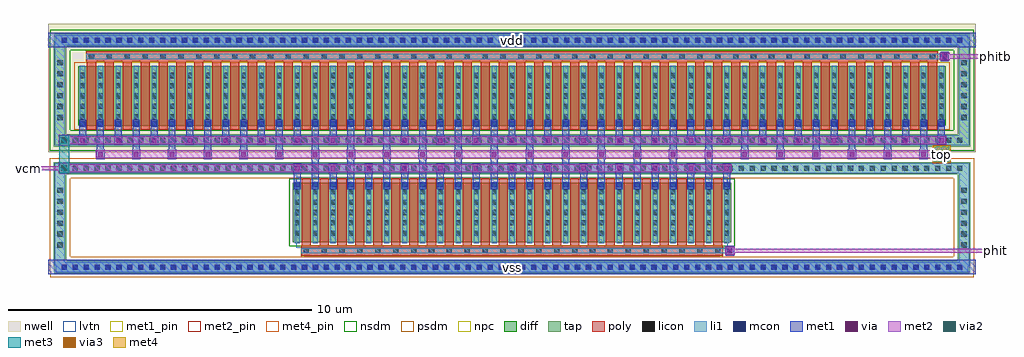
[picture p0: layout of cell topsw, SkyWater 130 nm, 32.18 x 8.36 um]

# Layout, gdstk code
import gdstk
lib = gdstk.Library(unit=1e-6, precision=1e-09)
def R(c, l, rs):  # rectangles x0, y0, x1, y1
    for r in rs: c.add(gdstk.rectangle(r[:2], r[2:], *l))
def A(c, l, x, y, w, h, nx, ny, dx, dy):  # array of equal rectangles
    R(c, l, [(x+i*dx, y+j*dy, x+i*dx+w, y+j*dy+h) for i in range(nx) for j in range(ny)])
nwell = (64, 20)
diff = (65, 20)
tap = (65, 44)
poly = (66, 20)
licon = (66, 44)
li1 = (67, 20)
mcon = (67, 44)
met1_pin = (68, 16)
met1 = (68, 20)
via = (68, 44)
met2_pin = (69, 16)
met2 = (69, 20)
via2 = (69, 44)
met3 = (70, 20)
via3 = (70, 44)
met4_pin = (71, 16)
met4 = (71, 20)
nsdm = (93, 44)
psdm = (94, 20)
npc = (95, 20)
lvtn = (125, 44)

topsw = lib.new_cell('topsw')
R(topsw, nwell, [(-15.29,4.035,15.29,8.265)])
A(topsw, diff, -7.225, 1.055, 0.88, 1.97, 24, 1, 0.59, 0)
A(topsw, diff, -14.305, 4.895, 0.88, 1.97, 48, 1, 0.59, 0)
R(topsw, tap, [(-15.09,0.035,15.09,0.445), (-15.11,0.24,-14.7,3.5), (14.7,0.24,15.11,3.5), (-15.11,3.295,15.11,3.705), (-15.11,4.215,15.11,4.625), (-15.11,4.42,-14.7,7.725), (14.7,4.42,15.11,7.725), (-15.09,7.52,15.09,7.93)])
A(topsw, poly, -6.95, 0.615, 0.33, 0.33, 24, 1, 0.59, 0)
A(topsw, poly, -6.63, 0.615, 0.28, 0.33, 23, 1, 0.59, 0)
A(topsw, poly, -6.935, 0.945, 0.3, 2.21, 24, 1, 0.59, 0)
A(topsw, poly, -14.015, 4.765, 0.3, 2.255, 48, 1, 0.59, 0)
A(topsw, poly, -14.03, 7.02, 0.33, 0.33, 48, 1, 0.59, 0)
A(topsw, poly, -13.71, 7.02, 0.28, 0.33, 47, 1, 0.59, 0)
A(topsw, licon, -14.845, 0.155, 0.17, 0.17, 83, 2, 0.36, 3.26)
A(topsw, licon, -6.87, 0.695, 0.17, 0.17, 24, 1, 0.59, 0)
A(topsw, licon, -14.99, 0.885, 0.17, 0.17, 1, 6, 0, 0.36)
A(topsw, licon, 14.82, 0.885, 0.17, 0.17, 1, 6, 0, 0.36)
A(topsw, licon, -7.165, 1.275, 0.17, 0.17, 1, 5, 0, 0.34)
A(topsw, licon, 6.995, 1.275, 0.17, 0.17, 1, 5, 0, 0.34)
A(topsw, licon, -14.845, 4.335, 0.17, 0.17, 83, 2, 0.36, 3.305)
A(topsw, licon, -14.99, 5.09, 0.17, 0.17, 1, 6, 0, 0.36)
A(topsw, licon, 14.82, 5.09, 0.17, 0.17, 1, 6, 0, 0.36)
A(topsw, licon, -14.245, 5.115, 0.17, 0.17, 1, 5, 0, 0.34)
A(topsw, licon, 14.075, 5.115, 0.17, 0.17, 1, 5, 0, 0.34)
A(topsw, licon, -13.95, 7.1, 0.17, 0.17, 48, 1, 0.59, 0)
R(topsw, licon, [(-6.575,1.275,-6.405,1.445), (-6.575,1.275,-6.405,1.445), (-5.985,1.275,-5.815,1.445), (-5.985,1.275,-5.815,1.445), (-5.395,1.275,-5.225,1.445), (-5.395,1.275,-5.225,1.445), (-4.805,1.275,-4.635,1.445), (-4.805,1.275,-4.635,1.445), (-4.215,1.275,-4.045,1.445), (-4.215,1.275,-4.045,1.445), (-3.625,1.275,-3.455,1.445), (-3.625,1.275,-3.455,1.445), (-3.035,1.275,-2.865,1.445), (-3.035,1.275,-2.865,1.445), (-2.445,1.275,-2.275,1.445), (-2.445,1.275,-2.275,1.445), (-1.855,1.275,-1.685,1.445), (-1.855,1.275,-1.685,1.445), (-1.265,1.275,-1.095,1.445), (-1.265,1.275,-1.095,1.445), (-0.675,1.275,-0.505,1.445), (-0.675,1.275,-0.505,1.445), (-0.085,1.275,0.085,1.445), (-0.085,1.275,0.085,1.445), (0.505,1.275,0.675,1.445), (0.505,1.275,0.675,1.445), (1.095,1.275,1.265,1.445), (1.095,1.275,1.265,1.445), (1.685,1.275,1.855,1.445), (1.685,1.275,1.855,1.445), (2.275,1.275,2.445,1.445), (2.275,1.275,2.445,1.445), (2.865,1.275,3.035,1.445), (2.865,1.275,3.035,1.445), (3.455,1.275,3.625,1.445), (3.455,1.275,3.625,1.445), (4.045,1.275,4.215,1.445), (4.045,1.275,4.215,1.445), (4.635,1.275,4.805,1.445), (4.635,1.275,4.805,1.445), (5.225,1.275,5.395,1.445), (5.225,1.275,5.395,1.445), (5.815,1.275,5.985,1.445), (5.815,1.275,5.985,1.445), (6.405,1.275,6.575,1.445), (6.405,1.275,6.575,1.445), (-6.575,1.615,-6.405,1.785), (-6.575,1.615,-6.405,1.785), (-5.985,1.615,-5.815,1.785), (-5.985,1.615,-5.815,1.785), (-5.395,1.615,-5.225,1.785), (-5.395,1.615,-5.225,1.785), (-4.805,1.615,-4.635,1.785), (-4.805,1.615,-4.635,1.785), (-4.215,1.615,-4.045,1.785), (-4.215,1.615,-4.045,1.785), (-3.625,1.615,-3.455,1.785), (-3.625,1.615,-3.455,1.785), (-3.035,1.615,-2.865,1.785), (-3.035,1.615,-2.865,1.785), (-2.445,1.615,-2.275,1.785), (-2.445,1.615,-2.275,1.785), (-1.855,1.615,-1.685,1.785), (-1.855,1.615,-1.685,1.785), (-1.265,1.615,-1.095,1.785), (-1.265,1.615,-1.095,1.785), (-0.675,1.615,-0.505,1.785), (-0.675,1.615,-0.505,1.785), (-0.085,1.615,0.085,1.785), (-0.085,1.615,0.085,1.785), (0.505,1.615,0.675,1.785), (0.505,1.615,0.675,1.785), (1.095,1.615,1.265,1.785), (1.095,1.615,1.265,1.785), (1.685,1.615,1.855,1.785), (1.685,1.615,1.855,1.785), (2.275,1.615,2.445,1.785), (2.275,1.615,2.445,1.785), (2.865,1.615,3.035,1.785), (2.865,1.615,3.035,1.785), (3.455,1.615,3.625,1.785), (3.455,1.615,3.625,1.785), (4.045,1.615,4.215,1.785), (4.045,1.615,4.215,1.785), (4.635,1.615,4.805,1.785), (4.635,1.615,4.805,1.785), (5.225,1.615,5.395,1.785), (5.225,1.615,5.395,1.785), (5.815,1.615,5.985,1.785), (5.815,1.615,5.985,1.785), (6.405,1.615,6.575,1.785), (6.405,1.615,6.575,1.785), (-6.575,1.955,-6.405,2.125), (-6.575,1.955,-6.405,2.125), (-5.985,1.955,-5.815,2.125), (-5.985,1.955,-5.815,2.125), (-5.395,1.955,-5.225,2.125), (-5.395,1.955,-5.225,2.125), (-4.805,1.955,-4.635,2.125), (-4.805,1.955,-4.635,2.125), (-4.215,1.955,-4.045,2.125), (-4.215,1.955,-4.045,2.125), (-3.625,1.955,-3.455,2.125), (-3.625,1.955,-3.455,2.125), (-3.035,1.955,-2.865,2.125), (-3.035,1.955,-2.865,2.125), (-2.445,1.955,-2.275,2.125), (-2.445,1.955,-2.275,2.125), (-1.855,1.955,-1.685,2.125), (-1.855,1.955,-1.685,2.125), (-1.265,1.955,-1.095,2.125), (-1.265,1.955,-1.095,2.125), (-0.675,1.955,-0.505,2.125), (-0.675,1.955,-0.505,2.125), (-0.085,1.955,0.085,2.125), (-0.085,1.955,0.085,2.125), (0.505,1.955,0.675,2.125), (0.505,1.955,0.675,2.125), (1.095,1.955,1.265,2.125), (1.095,1.955,1.265,2.125), (1.685,1.955,1.855,2.125), (1.685,1.955,1.855,2.125), (2.275,1.955,2.445,2.125), (2.275,1.955,2.445,2.125), (2.865,1.955,3.035,2.125), (2.865,1.955,3.035,2.125), (3.455,1.955,3.625,2.125), (3.455,1.955,3.625,2.125), (4.045,1.955,4.215,2.125), (4.045,1.955,4.215,2.125), (4.635,1.955,4.805,2.125), (4.635,1.955,4.805,2.125), (5.225,1.955,5.395,2.125), (5.225,1.955,5.395,2.125), (5.815,1.955,5.985,2.125), (5.815,1.955,5.985,2.125), (6.405,1.955,6.575,2.125), (6.405,1.955,6.575,2.125), (-6.575,2.295,-6.405,2.465), (-6.575,2.295,-6.405,2.465), (-5.985,2.295,-5.815,2.465), (-5.985,2.295,-5.815,2.465), (-5.395,2.295,-5.225,2.465), (-5.395,2.295,-5.225,2.465), (-4.805,2.295,-4.635,2.465), (-4.805,2.295,-4.635,2.465), (-4.215,2.295,-4.045,2.465), (-4.215,2.295,-4.045,2.465), (-3.625,2.295,-3.455,2.465), (-3.625,2.295,-3.455,2.465), (-3.035,2.295,-2.865,2.465), (-3.035,2.295,-2.865,2.465), (-2.445,2.295,-2.275,2.465), (-2.445,2.295,-2.275,2.465), (-1.855,2.295,-1.685,2.465), (-1.855,2.295,-1.685,2.465), (-1.265,2.295,-1.095,2.465), (-1.265,2.295,-1.095,2.465), (-0.675,2.295,-0.505,2.465), (-0.675,2.295,-0.505,2.465), (-0.085,2.295,0.085,2.465), (-0.085,2.295,0.085,2.465), (0.505,2.295,0.675,2.465), (0.505,2.295,0.675,2.465), (1.095,2.295,1.265,2.465), (1.095,2.295,1.265,2.465), (1.685,2.295,1.855,2.465), (1.685,2.295,1.855,2.465), (2.275,2.295,2.445,2.465), (2.275,2.295,2.445,2.465), (2.865,2.295,3.035,2.465), (2.865,2.295,3.035,2.465), (3.455,2.295,3.625,2.465), (3.455,2.295,3.625,2.465), (4.045,2.295,4.215,2.465), (4.045,2.295,4.215,2.465), (4.635,2.295,4.805,2.465), (4.635,2.295,4.805,2.465), (5.225,2.295,5.395,2.465), (5.225,2.295,5.395,2.465), (5.815,2.295,5.985,2.465), (5.815,2.295,5.985,2.465), (6.405,2.295,6.575,2.465), (6.405,2.295,6.575,2.465), (-6.575,2.635,-6.405,2.805), (-6.575,2.635,-6.405,2.805), (-5.985,2.635,-5.815,2.805), (-5.985,2.635,-5.815,2.805), (-5.395,2.635,-5.225,2.805), (-5.395,2.635,-5.225,2.805), (-4.805,2.635,-4.635,2.805), (-4.805,2.635,-4.635,2.805), (-4.215,2.635,-4.045,2.805), (-4.215,2.635,-4.045,2.805), (-3.625,2.635,-3.455,2.805), (-3.625,2.635,-3.455,2.805), (-3.035,2.635,-2.865,2.805), (-3.035,2.635,-2.865,2.805), (-2.445,2.635,-2.275,2.805), (-2.445,2.635,-2.275,2.805), (-1.855,2.635,-1.685,2.805), (-1.855,2.635,-1.685,2.805), (-1.265,2.635,-1.095,2.805), (-1.265,2.635,-1.095,2.805), (-0.675,2.635,-0.505,2.805), (-0.675,2.635,-0.505,2.805), (-0.085,2.635,0.085,2.805), (-0.085,2.635,0.085,2.805), (0.505,2.635,0.675,2.805), (0.505,2.635,0.675,2.805), (1.095,2.635,1.265,2.805), (1.095,2.635,1.265,2.805), (1.685,2.635,1.855,2.805), (1.685,2.635,1.855,2.805), (2.275,2.635,2.445,2.805), (2.275,2.635,2.445,2.805), (2.865,2.635,3.035,2.805), (2.865,2.635,3.035,2.805), (3.455,2.635,3.625,2.805), (3.455,2.635,3.625,2.805), (4.045,2.635,4.215,2.805), (4.045,2.635,4.215,2.805), (4.635,2.635,4.805,2.805), (4.635,2.635,4.805,2.805), (5.225,2.635,5.395,2.805), (5.225,2.635,5.395,2.805), (5.815,2.635,5.985,2.805), (5.815,2.635,5.985,2.805), (6.405,2.635,6.575,2.805), (6.405,2.635,6.575,2.805), (-13.655,5.115,-13.485,5.285), (-13.655,5.115,-13.485,5.285), (-13.065,5.115,-12.895,5.285), (-13.065,5.115,-12.895,5.285), (-12.475,5.115,-12.305,5.285), (-12.475,5.115,-12.305,5.285), (-11.885,5.115,-11.715,5.285), (-11.885,5.115,-11.715,5.285), (-11.295,5.115,-11.125,5.285), (-11.295,5.115,-11.125,5.285), (-10.705,5.115,-10.535,5.285), (-10.705,5.115,-10.535,5.285), (-10.115,5.115,-9.945,5.285), (-10.115,5.115,-9.945,5.285), (-9.525,5.115,-9.355,5.285), (-9.525,5.115,-9.355,5.285), (-8.935,5.115,-8.765,5.285), (-8.935,5.115,-8.765,5.285), (-8.345,5.115,-8.175,5.285), (-8.345,5.115,-8.175,5.285), (-7.755,5.115,-7.585,5.285), (-7.755,5.115,-7.585,5.285), (-7.165,5.115,-6.995,5.285), (-7.165,5.115,-6.995,5.285), (-6.575,5.115,-6.405,5.285), (-6.575,5.115,-6.405,5.285), (-5.985,5.115,-5.815,5.285), (-5.985,5.115,-5.815,5.285), (-5.395,5.115,-5.225,5.285), (-5.395,5.115,-5.225,5.285), (-4.805,5.115,-4.635,5.285), (-4.805,5.115,-4.635,5.285), (-4.215,5.115,-4.045,5.285), (-4.215,5.115,-4.045,5.285), (-3.625,5.115,-3.455,5.285), (-3.625,5.115,-3.455,5.285), (-3.035,5.115,-2.865,5.285), (-3.035,5.115,-2.865,5.285), (-2.445,5.115,-2.275,5.285), (-2.445,5.115,-2.275,5.285), (-1.855,5.115,-1.685,5.285), (-1.855,5.115,-1.685,5.285), (-1.265,5.115,-1.095,5.285), (-1.265,5.115,-1.095,5.285), (-0.675,5.115,-0.505,5.285), (-0.675,5.115,-0.505,5.285), (-0.085,5.115,0.085,5.285), (-0.085,5.115,0.085,5.285), (0.505,5.115,0.675,5.285), (0.505,5.115,0.675,5.285), (1.095,5.115,1.265,5.285), (1.095,5.115,1.265,5.285), (1.685,5.115,1.855,5.285), (1.685,5.115,1.855,5.285), (2.275,5.115,2.445,5.285), (2.275,5.115,2.445,5.285), (2.865,5.115,3.035,5.285), (2.865,5.115,3.035,5.285), (3.455,5.115,3.625,5.285), (3.455,5.115,3.625,5.285), (4.045,5.115,4.215,5.285), (4.045,5.115,4.215,5.285), (4.635,5.115,4.805,5.285), (4.635,5.115,4.805,5.285), (5.225,5.115,5.395,5.285), (5.225,5.115,5.395,5.285), (5.815,5.115,5.985,5.285), (5.815,5.115,5.985,5.285), (6.405,5.115,6.575,5.285), (6.405,5.115,6.575,5.285), (6.995,5.115,7.165,5.285), (6.995,5.115,7.165,5.285), (7.585,5.115,7.755,5.285), (7.585,5.115,7.755,5.285), (8.175,5.115,8.345,5.285), (8.175,5.115,8.345,5.285), (8.765,5.115,8.935,5.285), (8.765,5.115,8.935,5.285), (9.355,5.115,9.525,5.285), (9.355,5.115,9.525,5.285), (9.945,5.115,10.115,5.285), (9.945,5.115,10.115,5.285), (10.535,5.115,10.705,5.285), (10.535,5.115,10.705,5.285), (11.125,5.115,11.295,5.285), (11.125,5.115,11.295,5.285), (11.715,5.115,11.885,5.285), (11.715,5.115,11.885,5.285), (12.305,5.115,12.475,5.285), (12.305,5.115,12.475,5.285), (12.895,5.115,13.065,5.285), (12.895,5.115,13.065,5.285), (13.485,5.115,13.655,5.285), (13.485,5.115,13.655,5.285), (-13.655,5.455,-13.485,5.625), (-13.655,5.455,-13.485,5.625), (-13.065,5.455,-12.895,5.625), (-13.065,5.455,-12.895,5.625), (-12.475,5.455,-12.305,5.625), (-12.475,5.455,-12.305,5.625), (-11.885,5.455,-11.715,5.625), (-11.885,5.455,-11.715,5.625), (-11.295,5.455,-11.125,5.625), (-11.295,5.455,-11.125,5.625), (-10.705,5.455,-10.535,5.625), (-10.705,5.455,-10.535,5.625), (-10.115,5.455,-9.945,5.625), (-10.115,5.455,-9.945,5.625), (-9.525,5.455,-9.355,5.625), (-9.525,5.455,-9.355,5.625), (-8.935,5.455,-8.765,5.625), (-8.935,5.455,-8.765,5.625), (-8.345,5.455,-8.175,5.625), (-8.345,5.455,-8.175,5.625), (-7.755,5.455,-7.585,5.625), (-7.755,5.455,-7.585,5.625), (-7.165,5.455,-6.995,5.625), (-7.165,5.455,-6.995,5.625), (-6.575,5.455,-6.405,5.625), (-6.575,5.455,-6.405,5.625), (-5.985,5.455,-5.815,5.625), (-5.985,5.455,-5.815,5.625), (-5.395,5.455,-5.225,5.625), (-5.395,5.455,-5.225,5.625), (-4.805,5.455,-4.635,5.625), (-4.805,5.455,-4.635,5.625), (-4.215,5.455,-4.045,5.625), (-4.215,5.455,-4.045,5.625), (-3.625,5.455,-3.455,5.625), (-3.625,5.455,-3.455,5.625), (-3.035,5.455,-2.865,5.625), (-3.035,5.455,-2.865,5.625), (-2.445,5.455,-2.275,5.625), (-2.445,5.455,-2.275,5.625), (-1.855,5.455,-1.685,5.625), (-1.855,5.455,-1.685,5.625), (-1.265,5.455,-1.095,5.625), (-1.265,5.455,-1.095,5.625), (-0.675,5.455,-0.505,5.625), (-0.675,5.455,-0.505,5.625), (-0.085,5.455,0.085,5.625), (-0.085,5.455,0.085,5.625), (0.505,5.455,0.675,5.625), (0.505,5.455,0.675,5.625), (1.095,5.455,1.265,5.625), (1.095,5.455,1.265,5.625), (1.685,5.455,1.855,5.625), (1.685,5.455,1.855,5.625), (2.275,5.455,2.445,5.625), (2.275,5.455,2.445,5.625), (2.865,5.455,3.035,5.625), (2.865,5.455,3.035,5.625), (3.455,5.455,3.625,5.625), (3.455,5.455,3.625,5.625), (4.045,5.455,4.215,5.625), (4.045,5.455,4.215,5.625), (4.635,5.455,4.805,5.625), (4.635,5.455,4.805,5.625), (5.225,5.455,5.395,5.625), (5.225,5.455,5.395,5.625), (5.815,5.455,5.985,5.625), (5.815,5.455,5.985,5.625), (6.405,5.455,6.575,5.625), (6.405,5.455,6.575,5.625), (6.995,5.455,7.165,5.625), (6.995,5.455,7.165,5.625), (7.585,5.455,7.755,5.625), (7.585,5.455,7.755,5.625), (8.175,5.455,8.345,5.625), (8.175,5.455,8.345,5.625), (8.765,5.455,8.935,5.625), (8.765,5.455,8.935,5.625), (9.355,5.455,9.525,5.625), (9.355,5.455,9.525,5.625), (9.945,5.455,10.115,5.625), (9.945,5.455,10.115,5.625), (10.535,5.455,10.705,5.625), (10.535,5.455,10.705,5.625), (11.125,5.455,11.295,5.625), (11.125,5.455,11.295,5.625), (11.715,5.455,11.885,5.625), (11.715,5.455,11.885,5.625), (12.305,5.455,12.475,5.625), (12.305,5.455,12.475,5.625), (12.895,5.455,13.065,5.625), (12.895,5.455,13.065,5.625), (13.485,5.455,13.655,5.625), (13.485,5.455,13.655,5.625), (-13.655,5.795,-13.485,5.965), (-13.655,5.795,-13.485,5.965), (-13.065,5.795,-12.895,5.965), (-13.065,5.795,-12.895,5.965), (-12.475,5.795,-12.305,5.965), (-12.475,5.795,-12.305,5.965), (-11.885,5.795,-11.715,5.965), (-11.885,5.795,-11.715,5.965), (-11.295,5.795,-11.125,5.965), (-11.295,5.795,-11.125,5.965), (-10.705,5.795,-10.535,5.965), (-10.705,5.795,-10.535,5.965), (-10.115,5.795,-9.945,5.965), (-10.115,5.795,-9.945,5.965), (-9.525,5.795,-9.355,5.965), (-9.525,5.795,-9.355,5.965), (-8.935,5.795,-8.765,5.965), (-8.935,5.795,-8.765,5.965), (-8.345,5.795,-8.175,5.965), (-8.345,5.795,-8.175,5.965), (-7.755,5.795,-7.585,5.965), (-7.755,5.795,-7.585,5.965), (-7.165,5.795,-6.995,5.965), (-7.165,5.795,-6.995,5.965), (-6.575,5.795,-6.405,5.965), (-6.575,5.795,-6.405,5.965), (-5.985,5.795,-5.815,5.965), (-5.985,5.795,-5.815,5.965), (-5.395,5.795,-5.225,5.965), (-5.395,5.795,-5.225,5.965), (-4.805,5.795,-4.635,5.965), (-4.805,5.795,-4.635,5.965), (-4.215,5.795,-4.045,5.965), (-4.215,5.795,-4.045,5.965), (-3.625,5.795,-3.455,5.965), (-3.625,5.795,-3.455,5.965), (-3.035,5.795,-2.865,5.965), (-3.035,5.795,-2.865,5.965), (-2.445,5.795,-2.275,5.965), (-2.445,5.795,-2.275,5.965), (-1.855,5.795,-1.685,5.965), (-1.855,5.795,-1.685,5.965), (-1.265,5.795,-1.095,5.965), (-1.265,5.795,-1.095,5.965), (-0.675,5.795,-0.505,5.965), (-0.675,5.795,-0.505,5.965), (-0.085,5.795,0.085,5.965), (-0.085,5.795,0.085,5.965), (0.505,5.795,0.675,5.965), (0.505,5.795,0.675,5.965), (1.095,5.795,1.265,5.965), (1.095,5.795,1.265,5.965), (1.685,5.795,1.855,5.965), (1.685,5.795,1.855,5.965), (2.275,5.795,2.445,5.965), (2.275,5.795,2.445,5.965), (2.865,5.795,3.035,5.965), (2.865,5.795,3.035,5.965), (3.455,5.795,3.625,5.965), (3.455,5.795,3.625,5.965), (4.045,5.795,4.215,5.965), (4.045,5.795,4.215,5.965), (4.635,5.795,4.805,5.965), (4.635,5.795,4.805,5.965), (5.225,5.795,5.395,5.965), (5.225,5.795,5.395,5.965), (5.815,5.795,5.985,5.965), (5.815,5.795,5.985,5.965), (6.405,5.795,6.575,5.965), (6.405,5.795,6.575,5.965), (6.995,5.795,7.165,5.965), (6.995,5.795,7.165,5.965), (7.585,5.795,7.755,5.965), (7.585,5.795,7.755,5.965), (8.175,5.795,8.345,5.965), (8.175,5.795,8.345,5.965), (8.765,5.795,8.935,5.965), (8.765,5.795,8.935,5.965), (9.355,5.795,9.525,5.965), (9.355,5.795,9.525,5.965), (9.945,5.795,10.115,5.965), (9.945,5.795,10.115,5.965), (10.535,5.795,10.705,5.965), (10.535,5.795,10.705,5.965), (11.125,5.795,11.295,5.965), (11.125,5.795,11.295,5.965), (11.715,5.795,11.885,5.965), (11.715,5.795,11.885,5.965), (12.305,5.795,12.475,5.965), (12.305,5.795,12.475,5.965), (12.895,5.795,13.065,5.965), (12.895,5.795,13.065,5.965), (13.485,5.795,13.655,5.965), (13.485,5.795,13.655,5.965), (-13.655,6.135,-13.485,6.305), (-13.655,6.135,-13.485,6.305), (-13.065,6.135,-12.895,6.305), (-13.065,6.135,-12.895,6.305), (-12.475,6.135,-12.305,6.305), (-12.475,6.135,-12.305,6.305), (-11.885,6.135,-11.715,6.305), (-11.885,6.135,-11.715,6.305), (-11.295,6.135,-11.125,6.305), (-11.295,6.135,-11.125,6.305), (-10.705,6.135,-10.535,6.305), (-10.705,6.135,-10.535,6.305), (-10.115,6.135,-9.945,6.305), (-10.115,6.135,-9.945,6.305), (-9.525,6.135,-9.355,6.305), (-9.525,6.135,-9.355,6.305), (-8.935,6.135,-8.765,6.305), (-8.935,6.135,-8.765,6.305), (-8.345,6.135,-8.175,6.305), (-8.345,6.135,-8.175,6.305), (-7.755,6.135,-7.585,6.305), (-7.755,6.135,-7.585,6.305), (-7.165,6.135,-6.995,6.305), (-7.165,6.135,-6.995,6.305), (-6.575,6.135,-6.405,6.305), (-6.575,6.135,-6.405,6.305), (-5.985,6.135,-5.815,6.305), (-5.985,6.135,-5.815,6.305), (-5.395,6.135,-5.225,6.305), (-5.395,6.135,-5.225,6.305), (-4.805,6.135,-4.635,6.305), (-4.805,6.135,-4.635,6.305), (-4.215,6.135,-4.045,6.305), (-4.215,6.135,-4.045,6.305), (-3.625,6.135,-3.455,6.305), (-3.625,6.135,-3.455,6.305), (-3.035,6.135,-2.865,6.305), (-3.035,6.135,-2.865,6.305), (-2.445,6.135,-2.275,6.305), (-2.445,6.135,-2.275,6.305), (-1.855,6.135,-1.685,6.305), (-1.855,6.135,-1.685,6.305), (-1.265,6.135,-1.095,6.305), (-1.265,6.135,-1.095,6.305), (-0.675,6.135,-0.505,6.305), (-0.675,6.135,-0.505,6.305), (-0.085,6.135,0.085,6.305), (-0.085,6.135,0.085,6.305), (0.505,6.135,0.675,6.305), (0.505,6.135,0.675,6.305), (1.095,6.135,1.265,6.305), (1.095,6.135,1.265,6.305), (1.685,6.135,1.855,6.305), (1.685,6.135,1.855,6.305), (2.275,6.135,2.445,6.305), (2.275,6.135,2.445,6.305), (2.865,6.135,3.035,6.305), (2.865,6.135,3.035,6.305), (3.455,6.135,3.625,6.305), (3.455,6.135,3.625,6.305), (4.045,6.135,4.215,6.305), (4.045,6.135,4.215,6.305), (4.635,6.135,4.805,6.305), (4.635,6.135,4.805,6.305), (5.225,6.135,5.395,6.305), (5.225,6.135,5.395,6.305), (5.815,6.135,5.985,6.305), (5.815,6.135,5.985,6.305), (6.405,6.135,6.575,6.305), (6.405,6.135,6.575,6.305), (6.995,6.135,7.165,6.305), (6.995,6.135,7.165,6.305), (7.585,6.135,7.755,6.305), (7.585,6.135,7.755,6.305), (8.175,6.135,8.345,6.305), (8.175,6.135,8.345,6.305), (8.765,6.135,8.935,6.305), (8.765,6.135,8.935,6.305), (9.355,6.135,9.525,6.305), (9.355,6.135,9.525,6.305), (9.945,6.135,10.115,6.305), (9.945,6.135,10.115,6.305), (10.535,6.135,10.705,6.305), (10.535,6.135,10.705,6.305), (11.125,6.135,11.295,6.305), (11.125,6.135,11.295,6.305), (11.715,6.135,11.885,6.305), (11.715,6.135,11.885,6.305), (12.305,6.135,12.475,6.305), (12.305,6.135,12.475,6.305), (12.895,6.135,13.065,6.305), (12.895,6.135,13.065,6.305), (13.485,6.135,13.655,6.305), (13.485,6.135,13.655,6.305), (-13.655,6.475,-13.485,6.645), (-13.655,6.475,-13.485,6.645), (-13.065,6.475,-12.895,6.645), (-13.065,6.475,-12.895,6.645), (-12.475,6.475,-12.305,6.645), (-12.475,6.475,-12.305,6.645), (-11.885,6.475,-11.715,6.645), (-11.885,6.475,-11.715,6.645), (-11.295,6.475,-11.125,6.645), (-11.295,6.475,-11.125,6.645), (-10.705,6.475,-10.535,6.645), (-10.705,6.475,-10.535,6.645), (-10.115,6.475,-9.945,6.645), (-10.115,6.475,-9.945,6.645), (-9.525,6.475,-9.355,6.645), (-9.525,6.475,-9.355,6.645), (-8.935,6.475,-8.765,6.645), (-8.935,6.475,-8.765,6.645), (-8.345,6.475,-8.175,6.645), (-8.345,6.475,-8.175,6.645), (-7.755,6.475,-7.585,6.645), (-7.755,6.475,-7.585,6.645), (-7.165,6.475,-6.995,6.645), (-7.165,6.475,-6.995,6.645), (-6.575,6.475,-6.405,6.645), (-6.575,6.475,-6.405,6.645), (-5.985,6.475,-5.815,6.645), (-5.985,6.475,-5.815,6.645), (-5.395,6.475,-5.225,6.645), (-5.395,6.475,-5.225,6.645), (-4.805,6.475,-4.635,6.645), (-4.805,6.475,-4.635,6.645), (-4.215,6.475,-4.045,6.645), (-4.215,6.475,-4.045,6.645), (-3.625,6.475,-3.455,6.645), (-3.625,6.475,-3.455,6.645), (-3.035,6.475,-2.865,6.645), (-3.035,6.475,-2.865,6.645), (-2.445,6.475,-2.275,6.645), (-2.445,6.475,-2.275,6.645), (-1.855,6.475,-1.685,6.645), (-1.855,6.475,-1.685,6.645), (-1.265,6.475,-1.095,6.645), (-1.265,6.475,-1.095,6.645), (-0.675,6.475,-0.505,6.645), (-0.675,6.475,-0.505,6.645), (-0.085,6.475,0.085,6.645), (-0.085,6.475,0.085,6.645), (0.505,6.475,0.675,6.645), (0.505,6.475,0.675,6.645), (1.095,6.475,1.265,6.645), (1.095,6.475,1.265,6.645), (1.685,6.475,1.855,6.645), (1.685,6.475,1.855,6.645), (2.275,6.475,2.445,6.645), (2.275,6.475,2.445,6.645), (2.865,6.475,3.035,6.645), (2.865,6.475,3.035,6.645), (3.455,6.475,3.625,6.645), (3.455,6.475,3.625,6.645), (4.045,6.475,4.215,6.645), (4.045,6.475,4.215,6.645), (4.635,6.475,4.805,6.645), (4.635,6.475,4.805,6.645), (5.225,6.475,5.395,6.645), (5.225,6.475,5.395,6.645), (5.815,6.475,5.985,6.645), (5.815,6.475,5.985,6.645), (6.405,6.475,6.575,6.645), (6.405,6.475,6.575,6.645), (6.995,6.475,7.165,6.645), (6.995,6.475,7.165,6.645), (7.585,6.475,7.755,6.645), (7.585,6.475,7.755,6.645), (8.175,6.475,8.345,6.645), (8.175,6.475,8.345,6.645), (8.765,6.475,8.935,6.645), (8.765,6.475,8.935,6.645), (9.355,6.475,9.525,6.645), (9.355,6.475,9.525,6.645), (9.945,6.475,10.115,6.645), (9.945,6.475,10.115,6.645), (10.535,6.475,10.705,6.645), (10.535,6.475,10.705,6.645), (11.125,6.475,11.295,6.645), (11.125,6.475,11.295,6.645), (11.715,6.475,11.885,6.645), (11.715,6.475,11.885,6.645), (12.305,6.475,12.475,6.645), (12.305,6.475,12.475,6.645), (12.895,6.475,13.065,6.645), (12.895,6.475,13.065,6.645), (13.485,6.475,13.655,6.645), (13.485,6.475,13.655,6.645)])
A(topsw, li1, -6.95, 0.695, 0.33, 0.17, 24, 1, 0.59, 0)
A(topsw, li1, -6.63, 0.695, 0.28, 0.17, 23, 1, 0.59, 0)
A(topsw, li1, -14.03, 7.1, 0.33, 0.17, 48, 1, 0.59, 0)
A(topsw, li1, -13.71, 7.1, 0.28, 0.17, 47, 1, 0.59, 0)
R(topsw, li1, [(-15.05,0.075,15.05,0.405), (-15.07,0.28,-14.74,3.46), (14.74,0.28,15.07,3.46), (-6.95,0.695,7.27,0.865), (-7.165,1.035,-6.995,3.045), (-6.575,1.035,-6.405,3.045), (-6.575,1.035,-6.405,3.045), (-5.985,1.035,-5.815,3.045), (-5.985,1.035,-5.815,3.045), (-5.395,1.035,-5.225,3.045), (-5.395,1.035,-5.225,3.045), (-4.805,1.035,-4.635,3.045), (-4.805,1.035,-4.635,3.045), (-4.215,1.035,-4.045,3.045), (-4.215,1.035,-4.045,3.045), (-3.625,1.035,-3.455,3.045), (-3.625,1.035,-3.455,3.045), (-3.035,1.035,-2.865,3.045), (-3.035,1.035,-2.865,3.045), (-2.445,1.035,-2.275,3.045), (-2.445,1.035,-2.275,3.045), (-1.855,1.035,-1.685,3.045), (-1.855,1.035,-1.685,3.045), (-1.265,1.035,-1.095,3.045), (-1.265,1.035,-1.095,3.045), (-0.675,1.035,-0.505,3.045), (-0.675,1.035,-0.505,3.045), (-0.085,1.035,0.085,3.045), (-0.085,1.035,0.085,3.045), (0.505,1.035,0.675,3.045), (0.505,1.035,0.675,3.045), (1.095,1.035,1.265,3.045), (1.095,1.035,1.265,3.045), (1.685,1.035,1.855,3.045), (1.685,1.035,1.855,3.045), (2.275,1.035,2.445,3.045), (2.275,1.035,2.445,3.045), (2.865,1.035,3.035,3.045), (2.865,1.035,3.035,3.045), (3.455,1.035,3.625,3.045), (3.455,1.035,3.625,3.045), (4.045,1.035,4.215,3.045), (4.045,1.035,4.215,3.045), (4.635,1.035,4.805,3.045), (4.635,1.035,4.805,3.045), (5.225,1.035,5.395,3.045), (5.225,1.035,5.395,3.045), (5.815,1.035,5.985,3.045), (5.815,1.035,5.985,3.045), (6.405,1.035,6.575,3.045), (6.405,1.035,6.575,3.045), (6.995,1.035,7.165,3.045), (-15.07,3.335,15.07,3.665), (-15.07,4.255,15.07,4.585), (-15.07,4.46,-14.74,7.685), (14.74,4.46,15.07,7.685), (-14.245,4.875,-14.075,6.885), (-13.655,4.875,-13.485,6.885), (-13.655,4.875,-13.485,6.885), (-13.065,4.875,-12.895,6.885), (-13.065,4.875,-12.895,6.885), (-12.475,4.875,-12.305,6.885), (-12.475,4.875,-12.305,6.885), (-11.885,4.875,-11.715,6.885), (-11.885,4.875,-11.715,6.885), (-11.295,4.875,-11.125,6.885), (-11.295,4.875,-11.125,6.885), (-10.705,4.875,-10.535,6.885), (-10.705,4.875,-10.535,6.885), (-10.115,4.875,-9.945,6.885), (-10.115,4.875,-9.945,6.885), (-9.525,4.875,-9.355,6.885), (-9.525,4.875,-9.355,6.885), (-8.935,4.875,-8.765,6.885), (-8.935,4.875,-8.765,6.885), (-8.345,4.875,-8.175,6.885), (-8.345,4.875,-8.175,6.885), (-7.755,4.875,-7.585,6.885), (-7.755,4.875,-7.585,6.885), (-7.165,4.875,-6.995,6.885), (-7.165,4.875,-6.995,6.885), (-6.575,4.875,-6.405,6.885), (-6.575,4.875,-6.405,6.885), (-5.985,4.875,-5.815,6.885), (-5.985,4.875,-5.815,6.885), (-5.395,4.875,-5.225,6.885), (-5.395,4.875,-5.225,6.885), (-4.805,4.875,-4.635,6.885), (-4.805,4.875,-4.635,6.885), (-4.215,4.875,-4.045,6.885), (-4.215,4.875,-4.045,6.885), (-3.625,4.875,-3.455,6.885), (-3.625,4.875,-3.455,6.885), (-3.035,4.875,-2.865,6.885), (-3.035,4.875,-2.865,6.885), (-2.445,4.875,-2.275,6.885), (-2.445,4.875,-2.275,6.885), (-1.855,4.875,-1.685,6.885), (-1.855,4.875,-1.685,6.885), (-1.265,4.875,-1.095,6.885), (-1.265,4.875,-1.095,6.885), (-0.675,4.875,-0.505,6.885), (-0.675,4.875,-0.505,6.885), (-0.085,4.875,0.085,6.885), (-0.085,4.875,0.085,6.885), (0.505,4.875,0.675,6.885), (0.505,4.875,0.675,6.885), (1.095,4.875,1.265,6.885), (1.095,4.875,1.265,6.885), (1.685,4.875,1.855,6.885), (1.685,4.875,1.855,6.885), (2.275,4.875,2.445,6.885), (2.275,4.875,2.445,6.885), (2.865,4.875,3.035,6.885), (2.865,4.875,3.035,6.885), (3.455,4.875,3.625,6.885), (3.455,4.875,3.625,6.885), (4.045,4.875,4.215,6.885), (4.045,4.875,4.215,6.885), (4.635,4.875,4.805,6.885), (4.635,4.875,4.805,6.885), (5.225,4.875,5.395,6.885), (5.225,4.875,5.395,6.885), (5.815,4.875,5.985,6.885), (5.815,4.875,5.985,6.885), (6.405,4.875,6.575,6.885), (6.405,4.875,6.575,6.885), (6.995,4.875,7.165,6.885), (6.995,4.875,7.165,6.885), (7.585,4.875,7.755,6.885), (7.585,4.875,7.755,6.885), (8.175,4.875,8.345,6.885), (8.175,4.875,8.345,6.885), (8.765,4.875,8.935,6.885), (8.765,4.875,8.935,6.885), (9.355,4.875,9.525,6.885), (9.355,4.875,9.525,6.885), (9.945,4.875,10.115,6.885), (9.945,4.875,10.115,6.885), (10.535,4.875,10.705,6.885), (10.535,4.875,10.705,6.885), (11.125,4.875,11.295,6.885), (11.125,4.875,11.295,6.885), (11.715,4.875,11.885,6.885), (11.715,4.875,11.885,6.885), (12.305,4.875,12.475,6.885), (12.305,4.875,12.475,6.885), (12.895,4.875,13.065,6.885), (12.895,4.875,13.065,6.885), (13.485,4.875,13.655,6.885), (13.485,4.875,13.655,6.885), (14.075,4.875,14.245,6.885), (-14.03,7.1,14.35,7.27), (-15.05,7.56,15.05,7.89)])
A(topsw, mcon, -14.845, 0.155, 0.17, 0.17, 83, 2, 0.36, 7.485)
A(topsw, mcon, -7.165, 2.875, 0.17, 0.17, 25, 1, 0.59, 0)
A(topsw, mcon, -14.245, 4.875, 0.17, 0.17, 49, 1, 0.59, 0)
R(topsw, mcon, [(7.1,0.695,7.27,0.865), (14.18,7.1,14.35,7.27)])
R(topsw, met1_pin, [(-0.15,0.16,0.15,0.32), (-0.15,7.645,0.15,7.805)])
A(topsw, met1, -7.195, 2.815, 0.23, 0.29, 25, 1, 0.59, 0)
A(topsw, met1, -7.195, 2.96, 0.23, 0.54, 13, 1, 1.18, 0)
A(topsw, met1, -6.605, 2.96, 0.23, 1, 12, 1, 1.18, 0)
A(topsw, met1, -7.215, 3.34, 0.27, 0.32, 13, 1, 1.18, 0)
A(topsw, met1, -7.195, 3.34, 0.23, 0.32, 13, 1, 1.18, 0)
A(topsw, met1, -13.705, 3.8, 0.27, 0.32, 24, 1, 1.18, 0)
A(topsw, met1, -13.685, 3.8, 0.23, 0.32, 24, 1, 1.18, 0)
A(topsw, met1, -13.685, 3.96, 0.23, 1, 24, 1, 1.18, 0)
A(topsw, met1, -14.295, 4.26, 0.27, 0.32, 25, 1, 1.18, 0)
A(topsw, met1, -14.275, 4.26, 0.23, 0.32, 25, 1, 1.18, 0)
A(topsw, met1, -14.275, 4.42, 0.23, 0.54, 25, 1, 1.18, 0)
A(topsw, met1, -14.275, 4.815, 0.23, 0.29, 49, 1, 0.59, 0)
R(topsw, met1, [(-15.29,0,15.29,0.48), (7.05,0.62,7.32,0.94), (14.13,7.025,14.4,7.345), (-15.29,7.485,15.29,7.965)])
A(topsw, via, -7.155, 3.425, 0.15, 0.15, 13, 1, 1.18, 0)
A(topsw, via, -13.645, 3.885, 0.15, 0.15, 24, 1, 1.18, 0)
A(topsw, via, -14.235, 4.345, 0.15, 0.15, 25, 1, 1.18, 0)
R(topsw, via, [(7.11,0.705,7.26,0.855), (14.19,7.11,14.34,7.26)])
R(topsw, met2_pin, [(15.79,0.7,16.09,0.86), (-16.09,3.42,-15.79,3.58), (15.79,7.105,16.09,7.265)])
A(topsw, met2, -7.24, 3.37, 0.32, 0.26, 13, 1, 1.18, 0)
A(topsw, met2, -13.73, 3.83, 0.32, 0.26, 24, 1, 1.18, 0)
A(topsw, met2, -14.32, 4.29, 0.32, 0.26, 25, 1, 1.18, 0)
R(topsw, met2, [(7.025,0.65,7.345,0.91), (7.185,0.71,16.09,0.85), (-14.945,3.315,-14.575,3.685), (-14.92,3.37,7.24,3.63), (-16.09,3.43,-14.16,3.57), (13.985,3.775,14.355,4.145), (-13.73,3.83,13.73,4.09), (13.57,3.83,14.17,4.09), (-14.945,4.235,-14.575,4.605), (-14.92,4.29,14.32,4.55), (14.105,7.055,14.425,7.315), (14.265,7.115,16.09,7.255)])
R(topsw, via2, [(-14.86,3.4,-14.66,3.6), (14.07,3.86,14.27,4.06), (-14.86,4.32,-14.66,4.52)])
R(topsw, met3, [(-14.925,3.335,-14.595,3.665), (-14.925,3.335,-14.595,4.585), (13.92,3.71,14.42,4.21), (-14.925,4.255,-14.595,4.585)])
R(topsw, via3, [(14.07,3.86,14.27,4.06)])
R(topsw, met4_pin, [(14.02,3.88,14.32,4.04)])
R(topsw, met4, [(13.87,3.66,14.47,4.26)])
A(topsw, nsdm, -7.35, 0.93, 1.13, 2.22, 24, 1, 0.59, 0)
R(topsw, nsdm, [(-15.24,4.085,15.24,4.755), (-15.24,4.29,-14.57,7.855), (14.57,4.29,15.24,7.855), (-15.22,7.39,15.22,8.06)])
A(topsw, psdm, -14.43, 4.77, 1.13, 2.22, 48, 1, 0.59, 0)
R(topsw, psdm, [(-15.22,-0.095,15.22,0.575), (-15.24,0.11,-14.57,3.63), (14.57,0.11,15.24,3.63), (-15.24,3.165,15.24,3.835)])
A(topsw, npc, -6.97, 0.595, 0.37, 0.37, 24, 1, 0.59, 0)
A(topsw, npc, -6.61, 0.595, 0.24, 0.37, 23, 1, 0.59, 0)
A(topsw, npc, -14.05, 7, 0.37, 0.37, 48, 1, 0.59, 0)
A(topsw, npc, -13.69, 7, 0.24, 0.37, 47, 1, 0.59, 0)
A(topsw, lvtn, -7.115, 0.875, 0.66, 2.33, 24, 1, 0.59, 0)
topsw.add(gdstk.Label('top', (14.17,3.96), layer=71, texttype=5))
topsw.add(gdstk.Label('vcm', (-15.94,3.5), layer=69, texttype=5))
topsw.add(gdstk.Label('phit', (15.94,0.78), layer=69, texttype=5))
topsw.add(gdstk.Label('phitb', (15.94,7.185), layer=69, texttype=5))
topsw.add(gdstk.Label('vss', (0,0.24), layer=68, texttype=5))
topsw.add(gdstk.Label('vdd', (0,7.725), layer=68, texttype=5))

lib.write_gds('topsw.gds')
